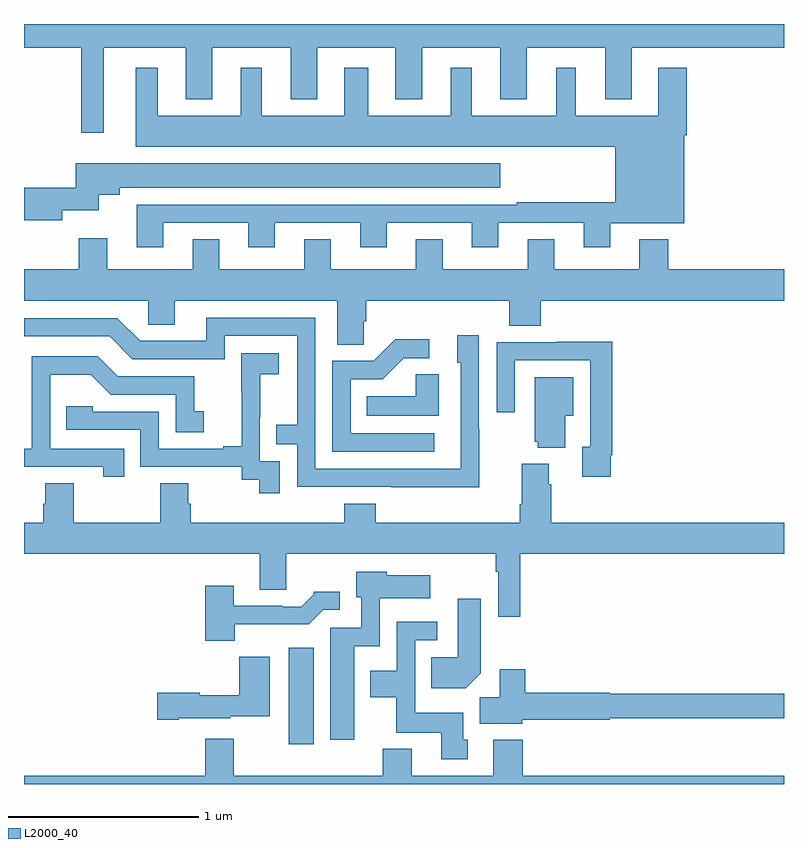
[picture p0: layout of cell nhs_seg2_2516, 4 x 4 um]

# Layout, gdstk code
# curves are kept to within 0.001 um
import gdstk
lib = gdstk.Library(unit=1e-6, precision=1e-09)
def R(c, l, rs):  # rectangles x0, y0, x1, y1
    for r in rs: c.add(gdstk.rectangle(r[:2], r[2:], *l))
def P(c, l, *ps):  # polygons
    for p in ps: c.add(gdstk.Polygon(p, *l))
L2000_40 = (2000, 40)

nhs_seg2_2516 = lib.new_cell('nhs_seg2_2516')
R(nhs_seg2_2516, L2000_40, [(244.394,604.008,244.525,604.516)])
P(nhs_seg2_2516, L2000_40, [(243.421,607.676),(243.851,607.676),(243.851,607.403),(243.991,607.403),(243.991,607.676),(244.403,607.676),(244.403,607.403),(244.543,607.403),(244.543,607.676),(244.955,607.676),(244.955,607.403),(245.095,607.403),(245.095,607.676),(245.507,607.676),(245.507,607.403),(245.647,607.403),(245.647,607.676),(246.059,607.676),(246.059,607.403),(246.199,607.403),(246.199,607.676),(247,607.676),(247,607.8),(243,607.8),(243,607.676),(243.3,607.676),(243.3,607.227),(243.421,607.227)],
  [(243.733,606.753),(244.181,606.753),(244.181,606.624),(244.321,606.624),(244.321,606.753),(244.769,606.753),(244.769,606.624),(244.909,606.624),(244.909,606.753),(245.357,606.753),(245.357,606.624),(245.497,606.624),(245.497,606.753),(245.945,606.753),(245.945,606.624),(246.085,606.624),(246.085,606.752),(246.475,606.752),(246.475,607.214),(246.488,607.214),(246.488,607.57),(246.338,607.57),(246.338,607.318),(245.905,607.318),(245.905,607.57),(245.801,607.57),(245.801,607.318),(245.356,607.318),(245.356,607.57),(245.246,607.57),(245.246,607.318),(244.813,607.318),(244.813,607.57),(244.685,607.57),(244.685,607.318),(244.252,607.318),(244.252,607.57),(244.142,607.57),(244.142,607.318),(243.703,607.318),(243.703,607.57),(243.587,607.57),(243.587,607.154),(246.113,607.154),(246.113,606.862),(245.593,606.862),(245.593,606.849),(243.593,606.849),(243.593,606.624),(243.733,606.624)],
  [(243.202,606.821),(243.394,606.821),(243.394,606.902),(243.505,606.902),(243.505,606.938),(245.506,606.938),(245.506,607.066),(243.272,607.066),(243.272,606.938),(243,606.938),(243,606.767),(243.202,606.767)],
  [(244.788,606.235),(244.802,606.235),(244.802,606.344),(245.555,606.344),(245.555,606.211),(245.72,606.211),(245.72,606.344),(247,606.344),(247,606.508),(246.392,606.508),(246.392,606.667),(246.239,606.667),(246.239,606.508),(245.791,606.508),(245.791,606.668),(245.651,606.668),(245.651,606.508),(245.203,606.508),(245.203,606.668),(245.063,606.668),(245.063,606.508),(244.615,606.508),(244.615,606.668),(244.475,606.668),(244.475,606.508),(244.027,606.508),(244.027,606.668),(243.887,606.668),(243.887,606.508),(243.439,606.508),(243.439,606.673),(243.287,606.673),(243.287,606.508),(243,606.508),(243,606.344),(243.654,606.344),(243.654,606.217),(243.793,606.217),(243.793,606.344),(244.649,606.344),(244.649,606.112),(244.788,606.112)],
  [(245.397,605.669),(245.394,605.669),(245.394,606.163),(245.279,606.163),(245.279,606.018),(245.298,606.018),(245.298,605.46),(244.533,605.46),(244.533,606.255),(243.959,606.255),(243.959,606.132),(243.612,606.132),(243.492,606.252),(243,606.252),(243,606.156),(243.45,606.156),(243.57,606.036),(244.056,606.036),(244.056,606.159),(244.437,606.159),(244.437,605.69),(244.327,605.69),(244.327,605.589),(244.437,605.589),(244.437,605.364),(245.397,605.363)],
  [(245.158,605.646),(244.719,605.646),(244.719,605.931),(244.888,605.931),(244.999,606.042),(245.134,606.042),(245.134,606.14),(244.955,606.14),(244.842,606.027),(244.623,606.027),(244.623,605.55),(245.158,605.55)],
  [(246.088,605.53),(246.095,605.53),(246.095,606.128),(245.803,606.128),(245.803,606.126),(245.487,606.126),(245.487,605.757),(245.583,605.757),(245.583,606.03),(245.979,606.03),(245.979,605.574),(245.939,605.574),(245.939,605.418),(246.088,605.418)],
  [(244.347,605.499),(244.242,605.499),(244.242,605.729),(244.244,605.729),(244.244,605.957),(244.342,605.957),(244.342,606.067),(244.144,606.067),(244.144,605.861),(244.145,605.861),(244.145,605.578),(244.049,605.578),(244.049,605.565),(243.708,605.565),(243.708,605.76),(243.363,605.76),(243.363,605.787),(243.223,605.787),(243.223,605.664),(243.612,605.664),(243.612,605.469),(244.146,605.469),(244.146,605.401),(244.239,605.401),(244.239,605.331),(244.347,605.331)],
  [(243.527,605.565),(243.138,605.565),(243.138,605.954),(243.352,605.954),(243.456,605.85),(243.798,605.85),(243.798,605.652),(243.946,605.652),(243.946,605.761),(243.897,605.761),(243.897,605.946),(243.493,605.946),(243.388,606.051),(243.042,606.051),(243.042,605.565),(243,605.565),(243,605.469),(243.416,605.469),(243.416,605.418),(243.527,605.418)],
  [(245.182,605.957),(245.061,605.957),(245.061,605.842),(244.804,605.842),(244.804,605.738),(245.182,605.738)],
  [(245.848,605.738),(245.89,605.738),(245.89,605.941),(245.687,605.941),(245.687,605.601),(245.705,605.601),(245.705,605.57),(245.848,605.57)],
  [(245.621,605.485),(245.621,605.272),(245.609,605.272),(245.609,605.176),(244.85,605.176),(244.85,605.275),(244.685,605.275),(244.685,605.176),(243.878,605.176),(243.878,605.274),(243.865,605.274),(243.865,605.384),(243.718,605.384),(243.718,605.176),(243.261,605.176),(243.261,605.384),(243.113,605.384),(243.113,605.274),(243.101,605.274),(243.101,605.176),(243,605.176),(243,605.012),(244.241,605.012),(244.241,604.822),(244.381,604.822),(244.381,605.012),(245.484,605.012),(245.484,604.916),(245.496,604.916),(245.496,604.68),(245.612,604.68),(245.612,605.012),(247,605.012),(247,605.176),(245.774,605.176),(245.774,605.378),(245.761,605.378),(245.761,605.485)],
  [(244.738,604.526),(244.872,604.526),(244.872,604.778),(245.137,604.778),(245.137,604.9),(244.908,604.9),(244.908,604.918),(244.748,604.918),(244.748,604.782),(244.776,604.782),(244.776,604.623),(244.613,604.623),(244.613,604.032),(244.738,604.032)],
  [(244.108,604.64),(244.499,604.64),(244.575,604.716),(244.663,604.716),(244.663,604.813),(244.524,604.813),(244.524,604.798),(244.46,604.734),(244.361,604.734),(244.361,604.737),(244.105,604.737),(244.105,604.843),(243.953,604.843),(243.953,604.553),(244.108,604.553)],
  [(245.404,604.382),(245.404,604.774),(245.282,604.774),(245.282,604.468),(245.143,604.468),(245.143,604.304),(245.326,604.304)],
  [(245.335,604.032),(245.311,604.032),(245.311,604.174),(245.058,604.174),(245.058,604.557),(245.176,604.557),(245.176,604.653),(244.962,604.653),(244.962,604.396),(244.823,604.396),(244.823,604.256),(244.96,604.256),(244.96,604.07),(245.195,604.07),(245.195,603.93),(245.335,603.93)],
  [(243.814,604.145),(244.086,604.145),(244.086,604.157),(244.294,604.157),(244.294,604.471),(244.132,604.471),(244.132,604.267),(243.924,604.267),(243.924,604.28),(243.702,604.28),(243.702,604.138),(243.814,604.138)],
  [(245.622,604.138),(246.084,604.138),(246.084,604.146),(247,604.146),(247,604.274),(246.084,604.274),(246.084,604.28),(245.639,604.28),(245.639,604.405),(245.504,604.405),(245.504,604.256),(245.399,604.256),(245.399,604.118),(245.622,604.118)],
  [(247,603.844),(245.624,603.844),(245.624,604.033),(245.471,604.033),(245.471,603.844),(245.041,603.844),(245.041,603.985),(244.889,603.985),(244.889,603.844),(244.105,603.844),(244.105,604.039),(243.953,604.039),(243.953,603.844),(243,603.844),(243,603.8),(247,603.8)])

lib.write_gds('nhs_seg2_2516.gds')
